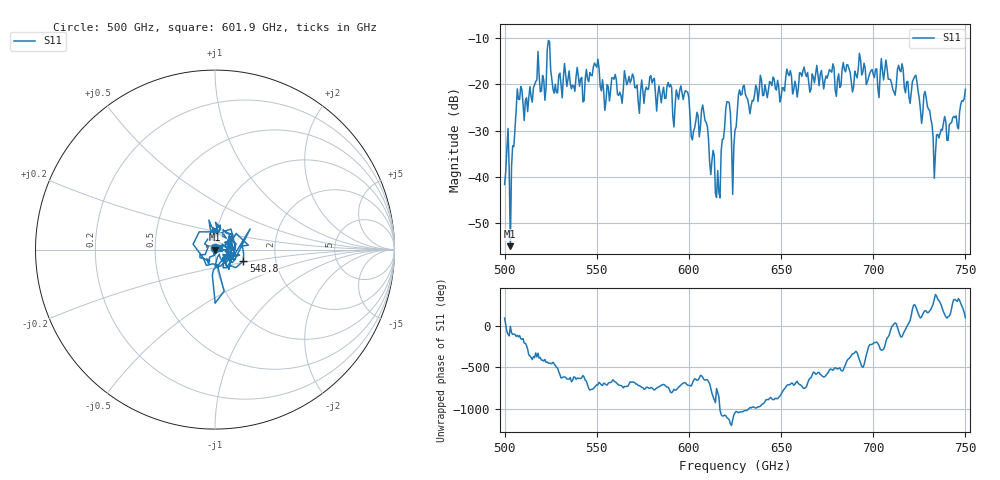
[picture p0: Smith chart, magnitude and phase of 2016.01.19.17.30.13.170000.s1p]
!Created with skrf (http://scikit-rf.org).
# GHz S RI R 50.0
!freq ReS11 ImS11
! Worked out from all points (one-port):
!   401 points, 500 GHz to 750 GHz, reference 50 ohm
!   lowest |S11| = -55.0 dB at 503.1 GHz (marker M1), VSWR 1.00, Z = 50.2 - j0.0147 ohm
!   |S11| at or under -10 dB: start of sweep to end of sweep
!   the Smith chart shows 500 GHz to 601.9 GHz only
!   S11 on the Smith chart (normalised r, x): 500 GHz: 1.00, +0.02; 548.8 GHz: 1.36, -0.18; 601.9 GHz: 1.05, +0.02
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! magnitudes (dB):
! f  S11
! 500 GHz  -41.6
! 503.1 GHz  -55.0
! 508.1 GHz  -23.3
! 521.2 GHz  -19.1
! 524.4 GHz  -10.7
! 527.5 GHz  -20.0
! 531.2 GHz  -22.9
! 541.9 GHz  -18.5
! 548.8 GHz  -15.4
! 562.5 GHz  -21.7
! 568.8 GHz  -19.0
! 593.8 GHz  -22.2
! 598.8 GHz  -21.6
! 601.9 GHz  -32.0
! 608.1 GHz  -26.2
! 615.6 GHz  -38.6
! 620.6 GHz  -23.7
! 625 GHz  -29.9
! 628.8 GHz  -22.1
! 656.2 GHz  -22.1
! 687.5 GHz  -17.4
! 705.6 GHz  -19.0
! 711.2 GHz  -21.6
! 715 GHz  -17.3
! 718.8 GHz  -19.4
! 728.8 GHz  -22.9
! 733.8 GHz  -34.9
! 750 GHz  -21.1
